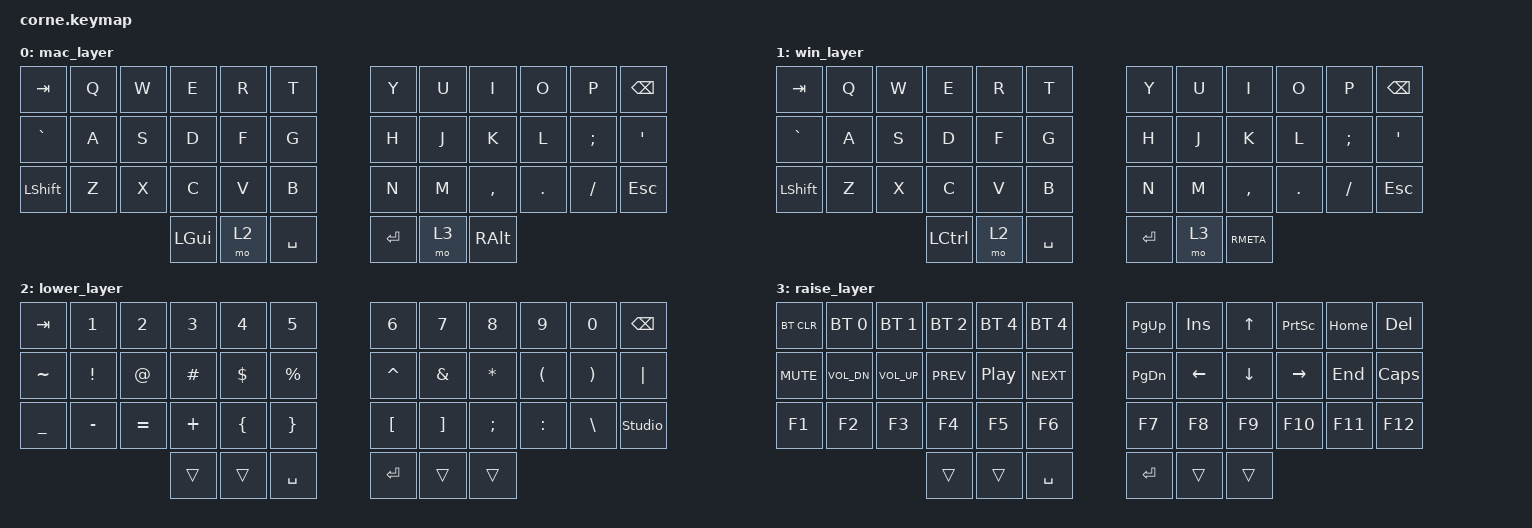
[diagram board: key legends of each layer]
/*
 * Copyright (c) 2020 The ZMK Contributors
 *
 * SPDX-License-Identifier: MIT
 */

#include <behaviors.dtsi>
#include <dt-bindings/zmk/bt.h>
#include <dt-bindings/zmk/keys.h>

/ {
    combos {
        compatible = "zmk,combos";

        combo_mac_win_swap {
            bindings = <&to 1>;
            key-positions = <37 40 35>;
            layers = <0>;
        };

        combo_win_mac_swap {
            bindings = <&to 0>;
            key-positions = <37 40 35>;
            layers = <1>;
        };
    };

    keymap {
        compatible = "zmk,keymap";

        mac_layer {
            bindings = <
&kp TAB    &kp Q  &kp W  &kp E         &kp R  &kp T        &kp Y    &kp U  &kp I          &kp O    &kp P     &kp BSPC
&kp GRAVE  &kp A  &kp S  &kp D         &kp F  &kp G        &kp H    &kp J  &kp K          &kp L    &kp SEMI  &kp SQT
&kp LSHFT  &kp Z  &kp X  &kp C         &kp V  &kp B        &kp N    &kp M  &kp COMMA      &kp DOT  &kp FSLH  &kp ESC
                         &kp LEFT_GUI  &mo 2  &kp SPACE    &kp RET  &mo 3  &kp RIGHT_ALT
            >;
        };

        win_layer {
            // -----------------------------------------------------------------------------------------
            // |  TAB |  Q  |  W  |  E  |  R  |  T  |   |  Y  |  U   |  I  |  O  |  P  | BSPC |
            // | CTRL |  A  |  S  |  D  |  F  |  G  |   |  H  |  J   |  K  |  L  |  ;  |  '   |
            // | SHFT |  Z  |  X  |  C  |  V  |  B  |   |  N  |  M   |  ,  |  .  |  /  | ESC  |
            //                    | GUI | LWR | SPC |   | ENT | RSE  | ALT |

            bindings = <
&kp TAB    &kp Q  &kp W  &kp E      &kp R  &kp T        &kp Y    &kp U  &kp I      &kp O    &kp P     &kp BSPC
&kp GRAVE  &kp A  &kp S  &kp D      &kp F  &kp G        &kp H    &kp J  &kp K      &kp L    &kp SEMI  &kp SQT
&kp LSHFT  &kp Z  &kp X  &kp C      &kp V  &kp B        &kp N    &kp M  &kp COMMA  &kp DOT  &kp FSLH  &kp ESC
                         &kp LCTRL  &mo 2  &kp SPACE    &kp RET  &mo 3  &kp RMETA
            >;
        };

        lower_layer {
            // -----------------------------------------------------------------------------------------
            // |  TAB |  1  |  2  |  3  |  4  |  5  |   |  6  |  7  |  8  |  9  |  0  | BSPC |
            // | BTCLR| BT1 | BT2 | BT3 | BT4 | BT5 |   | LFT | DWN |  UP | RGT |     |      |
            // | SHFT |     |     |     |     | ZMK |   |     |     |     |     |     |      |
            //                    | GUI |     | SPC |   | ENT |     | ALT |

            bindings = <
&kp TAB         &kp N1           &kp N2     &kp N3    &kp N4          &kp N5             &kp N6            &kp N7             &kp N8         &kp N9                &kp N0                 &kp BSPC
&kp TILDE       &kp EXCLAMATION  &kp AT     &kp HASH  &kp DOLLAR      &kp PERCENT        &kp CARET         &kp AMPERSAND      &kp ASTERISK   &kp LEFT_PARENTHESIS  &kp RIGHT_PARENTHESIS  &kp PIPE
&kp UNDERSCORE  &kp MINUS        &kp EQUAL  &kp PLUS  &kp LEFT_BRACE  &kp RIGHT_BRACE    &kp LEFT_BRACKET  &kp RIGHT_BRACKET  &kp SEMICOLON  &kp COLON             &kp BACKSLASH          &studio_unlock
                                            &trans    &trans          &kp SPACE          &kp RET           &trans             &trans
            >;
        };

        raise_layer {
            // -----------------------------------------------------------------------------------------
            // |  TAB |  !  |  @  |  #  |  $  |  %  |   |  ^  |  &  |  *  |  (  |  )  | BSPC |
            // | CTRL |     |     |     |     |     |   |  -  |  =  |  [  |  ]  |  \  |  `   |
            // | SHFT |     |     |     |     |     |   |  _  |  +  |  {  |  }  | "|" |  ~   |
            //                    | GUI |     | SPC |   | ENT |     | ALT |

            bindings = <
&bt BT_CLR  &bt BT_SEL 0  &bt BT_SEL 1  &bt BT_SEL 2  &bt BT_SEL 4      &bt BT_SEL 4    &kp PAGE_UP    &kp INS   &kp UP_ARROW  &kp PRINTSCREEN  &kp HOME  &kp DEL
&kp C_MUTE  &kp C_VOL_DN  &kp C_VOL_UP  &kp C_PREV    &kp C_PLAY_PAUSE  &kp C_NEXT      &kp PAGE_DOWN  &kp LEFT  &kp DOWN      &kp RIGHT        &kp END   &kp CAPS
&kp F1      &kp F2        &kp F3        &kp F4        &kp F5            &kp F6          &kp F7         &kp F8    &kp F9        &kp F10          &kp F11   &kp F12
                                        &trans        &trans            &kp SPACE       &kp RET        &trans    &trans
            >;
        };
    };
};
